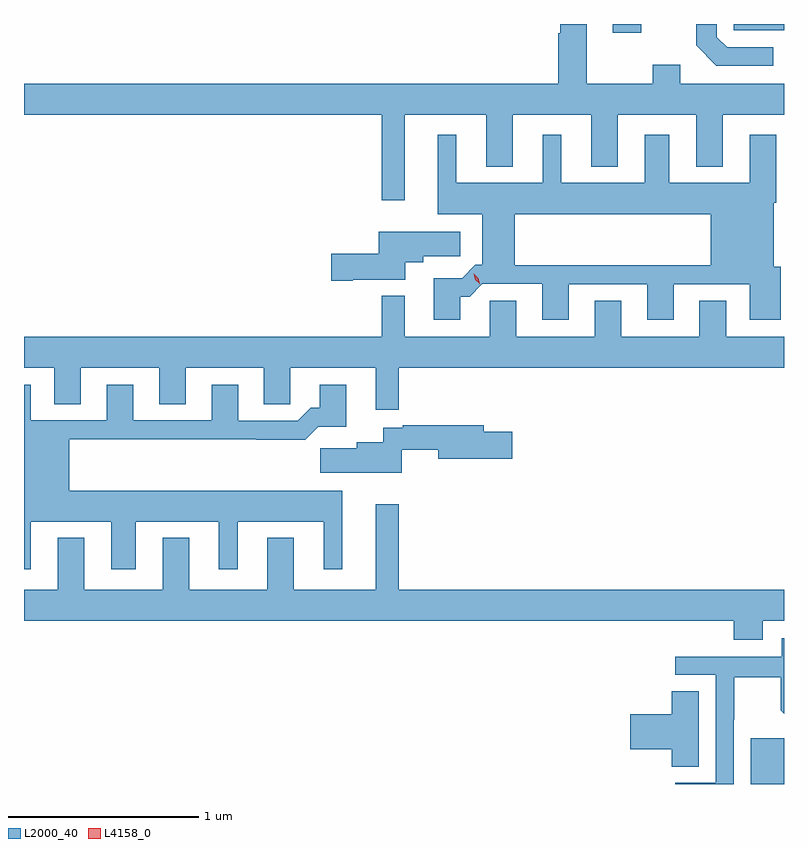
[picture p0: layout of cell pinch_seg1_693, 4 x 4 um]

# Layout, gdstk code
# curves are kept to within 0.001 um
import gdstk
lib = gdstk.Library(unit=1e-6, precision=1e-09)
def R(c, l, rs):  # rectangles x0, y0, x1, y1
    for r in rs: c.add(gdstk.rectangle(r[:2], r[2:], *l))
def P(c, l, *ps):  # polygons
    for p in ps: c.add(gdstk.Polygon(p, *l))
L2000_40 = (2000, 40)
L4158_0 = (4158, 0)

pinch_seg1_693 = lib.new_cell('pinch_seg1_693')
R(pinch_seg1_693, L2000_40, [(736.085,558.866,736.26,559.107), (735.359,562.821,735.508,562.866), (735.996,562.833,736.26,562.866)])
P(pinch_seg1_693, L2000_40, [(734.263,562.388),(734.693,562.388),(734.693,562.115),(734.833,562.115),(734.833,562.388),(735.245,562.388),(735.245,562.115),(735.385,562.115),(735.385,562.388),(735.797,562.388),(735.797,562.115),(735.937,562.115),(735.937,562.388),(736.26,562.388),(736.26,562.552),(735.715,562.552),(735.715,562.651),(735.568,562.651),(735.568,562.552),(735.223,562.552),(735.223,562.866),(735.083,562.866),(735.083,562.817),(735.071,562.817),(735.071,562.552),(732.26,562.552),(732.26,562.388),(734.142,562.388),(734.142,561.939),(734.263,561.939)],
  [(736.204,562.743),(735.96,562.743),(735.906,562.797),(735.906,562.866),(735.798,562.866),(735.798,562.753),(735.903,562.647),(736.204,562.647)],
  [(734.417,561.529),(734.417,561.309),(734.557,561.309),(734.557,561.431),(734.606,561.431),(734.673,561.498),(734.987,561.498),(734.987,561.309),(735.127,561.309),(735.127,561.495),(735.539,561.495),(735.539,561.309),(735.679,561.309),(735.679,561.495),(736.079,561.495),(736.079,561.309),(736.244,561.309),(736.244,561.588),(736.207,561.588),(736.207,561.926),(736.22,561.926),(736.22,562.282),(736.079,562.282),(736.079,562.03),(735.655,562.03),(735.655,562.282),(735.527,562.282),(735.527,562.03),(735.088,562.03),(735.088,562.282),(734.99,562.282),(734.99,562.03),(734.536,562.03),(734.536,562.282),(734.438,562.282),(734.438,561.866),(734.672,561.866),(734.672,561.599),(734.636,561.599),(734.633,561.596),(734.843,561.596),(734.843,561.866),(735.875,561.866),(735.875,561.596),(734.633,561.596),(734.566,561.529)],
  [(733.99,561.521),(734.266,561.521),(734.266,561.611),(734.362,561.611),(734.362,561.643),(734.557,561.643),(734.557,561.772),(734.126,561.772),(734.126,561.656),(733.878,561.656),(733.878,561.514),(733.99,561.514)],
  [(734.233,561.056),(736.26,561.056),(736.26,561.22),(735.955,561.22),(735.955,561.41),(735.815,561.41),(735.815,561.22),(735.403,561.22),(735.403,561.41),(735.263,561.41),(735.263,561.22),(734.851,561.22),(734.851,561.41),(734.712,561.41),(734.712,561.22),(734.263,561.22),(734.263,561.436),(734.142,561.436),(734.142,561.22),(732.26,561.22),(732.26,561.056),(732.419,561.056),(732.419,560.866),(732.559,560.866),(732.559,561.056),(732.971,561.056),(732.971,560.866),(733.111,560.866),(733.111,561.056),(733.523,561.056),(733.523,560.866),(733.662,560.866),(733.662,561.056),(734.111,561.056),(734.111,560.835),(734.233,560.835)],
  [(732.295,560.246),(732.719,560.246),(732.719,559.995),(732.847,559.995),(732.847,560.246),(733.286,560.246),(733.286,559.995),(733.384,559.995),(733.384,560.246),(733.838,560.246),(733.838,559.995),(733.936,559.995),(733.936,560.41),(732.499,560.41),(732.499,560.68),(733.483,560.68),(733.483,560.678),(733.739,560.678),(733.808,560.747),(733.957,560.747),(733.957,560.968),(733.817,560.968),(733.817,560.845),(733.768,560.845),(733.701,560.778),(733.387,560.778),(733.387,560.968),(733.247,560.968),(733.247,560.781),(732.835,560.781),(732.835,560.968),(732.695,560.968),(732.695,560.781),(732.295,560.781),(732.295,560.968),(732.26,560.968),(732.26,559.995),(732.295,559.995)],
  [(734.249,560.626),(734.441,560.626),(734.441,560.579),(734.83,560.579),(734.83,560.721),(734.68,560.721),(734.68,560.755),(734.254,560.755),(734.254,560.742),(734.15,560.742),(734.15,560.665),(734.012,560.665),(734.012,560.633),(733.818,560.633),(733.818,560.504),(734.249,560.504)],
  [(736.147,559.724),(736.26,559.724),(736.26,559.888),(734.233,559.888),(734.233,560.338),(734.111,560.338),(734.111,559.888),(733.681,559.888),(733.681,560.161),(733.541,560.161),(733.541,559.888),(733.129,559.888),(733.129,560.161),(732.989,560.161),(732.989,559.888),(732.577,559.888),(732.577,560.161),(732.437,560.161),(732.437,559.888),(732.26,559.888),(732.26,559.724),(735.995,559.724),(735.995,559.625),(736.147,559.625)],
  [(735.996,559.204),(735.999,559.204),(735.999,559.428),(736.243,559.428),(736.243,559.253),(736.26,559.236),(736.26,559.633),(736.248,559.633),(736.248,559.536),(735.687,559.536),(735.687,559.44),(735.9,559.44),(735.9,558.873),(735.687,558.873),(735.687,558.866),(735.996,558.866)],
  [(735.811,559.355),(735.668,559.355),(735.668,559.232),(735.45,559.232),(735.45,559.049),(735.668,559.049),(735.668,558.958),(735.811,558.958)])
P(pinch_seg1_693, L4158_0, [(734.658,561.497),(734.658,561.498),(734.634,561.519),(734.626,561.551),(734.627,561.551),(734.627,561.551),(734.651,561.529),(734.658,561.498)])

lib.write_gds('pinch_seg1_693.gds')
